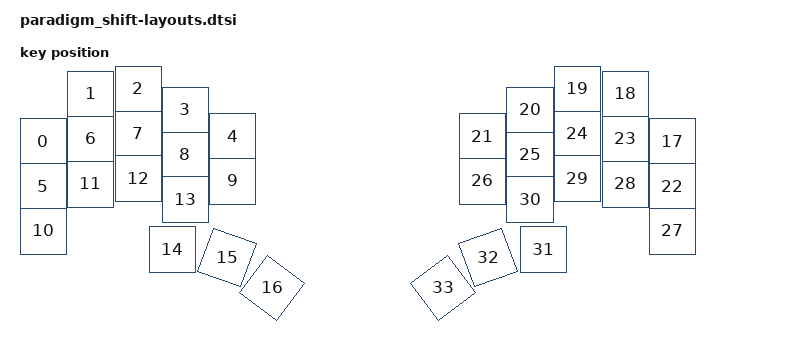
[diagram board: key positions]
#include <physical_layouts.dtsi>

/ {
    paradigm_shift_physical_layout: paradigm_shift_physical_layout {
        compatible = "zmk,physical-layout";
        display-name = "paradigm_shift";
        transform = <&default_transform>;
        kscan = <&kscan0>;
        keys  //                     w   h    x    y     rot    rx    ry
            = <&key_physical_attrs 100 100    0  105       0     0     0>
            , <&key_physical_attrs 100 100   95   10       0     0     0>
            , <&key_physical_attrs 100 100  190    0       0     0     0>
            , <&key_physical_attrs 100 100  284   42       0     0     0>
            , <&key_physical_attrs 100 100  379   95       0     0     0>
            , <&key_physical_attrs 100 100    0  195       0     0     0>
            , <&key_physical_attrs 100 100   95  100       0     0     0>
            , <&key_physical_attrs 100 100  190   90       0     0     0>
            , <&key_physical_attrs 100 100  284  132       0     0     0>
            , <&key_physical_attrs 100 100  379  184       0     0     0>
            , <&key_physical_attrs 100 100    0  284       0     0     0>
            , <&key_physical_attrs 100 100   95  190       0     0     0>
            , <&key_physical_attrs 100 100  190  179       0     0     0>
            , <&key_physical_attrs 100 100  284  221       0     0     0>
            , <&key_physical_attrs 100 100  258  321       0     0     0>
            , <&key_physical_attrs 100 100  368  337    2000   418   387>
            , <&key_physical_attrs 100 100  458  398    3700   508   448>
            , <&key_physical_attrs 100 100 1258  105       0     0     0>
            , <&key_physical_attrs 100 100 1164   10       0     0     0>
            , <&key_physical_attrs 100 100 1069    0       0     0     0>
            , <&key_physical_attrs 100 100  974   42       0     0     0>
            , <&key_physical_attrs 100 100  879   95       0     0     0>
            , <&key_physical_attrs 100 100 1258  195       0     0     0>
            , <&key_physical_attrs 100 100 1164  100       0     0     0>
            , <&key_physical_attrs 100 100 1069   90       0     0     0>
            , <&key_physical_attrs 100 100  974  132       0     0     0>
            , <&key_physical_attrs 100 100  879  184       0     0     0>
            , <&key_physical_attrs 100 100 1258  284       0     0     0>
            , <&key_physical_attrs 100 100 1164  190       0     0     0>
            , <&key_physical_attrs 100 100 1069  179       0     0     0>
            , <&key_physical_attrs 100 100  974  221       0     0     0>
            , <&key_physical_attrs 100 100 1000  321       0     0     0>
            , <&key_physical_attrs 100 100  890  337 (-2000)   940   387>
            , <&key_physical_attrs 100 100  800  398 (-3700)   850   448>
            ;
    };
};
